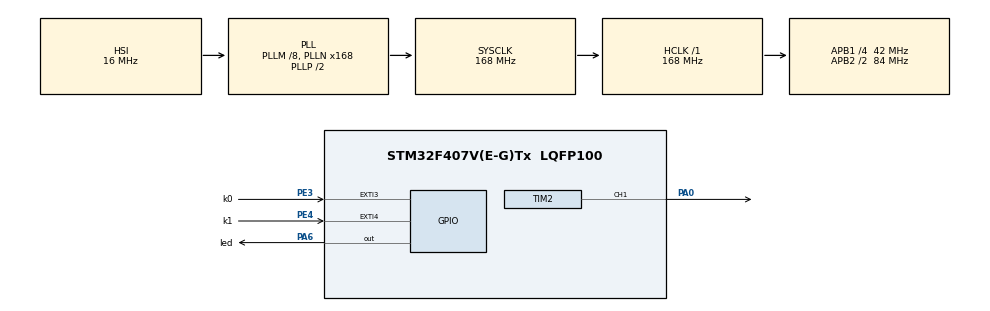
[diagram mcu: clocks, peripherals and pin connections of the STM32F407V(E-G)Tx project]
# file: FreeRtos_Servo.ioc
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FREERTOS.Tasks01=mainTask,0,128,StartMain,Default,NULL,Dynamic,NULL,NULL;liftPOD,-2,128,StartLiftPOD,Default,NULL,Dynamic,NULL,NULL
Mcu.Family=STM32F4
Mcu.Name=STM32F407V(E-G)Tx
Mcu.Package=LQFP100
NVIC.EXTI3_IRQn=true\:5\:0\:true\:false\:true\:false\:true\:true
NVIC.EXTI4_IRQn=true\:5\:0\:true\:false\:true\:false\:true\:true
NVIC.PriorityGroup=NVIC_PRIORITYGROUP_4
NVIC.TIM7_IRQn=true\:0\:0\:false\:false\:true\:false\:false\:true
NVIC.TimeBase=TIM7_IRQn
NVIC.TimeBaseIP=TIM7
PA0-WKUP.GPIO_PuPd=GPIO_PULLDOWN
PA0-WKUP.GPIO_Speed=GPIO_SPEED_FREQ_MEDIUM
PA0-WKUP.Signal=S_TIM2_CH1_ETR
PA13.Mode=Serial_Wire
PA13.Signal=SYS_JTMS-SWDIO
PA14.Mode=Serial_Wire
PA14.Signal=SYS_JTCK-SWCLK
PA6.GPIO_Label=led
PA6.GPIO_PuPd=GPIO_PULLDOWN
PA6.GPIO_Speed=GPIO_SPEED_FREQ_LOW
PA6.Signal=GPIO_Output
PE3.GPIO_Label=k0
PE3.GPIO_PuPd=GPIO_PULLUP
PE3.Signal=GPXTI3
PE4.GPIO_Label=k1
PE4.GPIO_PuPd=GPIO_PULLUP
PE4.Signal=GPXTI4
PH0-OSC_IN.Mode=HSE-External-Oscillator
PH0-OSC_IN.Signal=RCC_OSC_IN
PH1-OSC_OUT.Mode=HSE-External-Oscillator
PH1-OSC_OUT.Signal=RCC_OSC_OUT
ProjectManager.HeapSize=0x200
ProjectManager.StackSize=0x400
ProjectManager.TargetToolchain=STM32CubeIDE
RCC.48MHZClocksFreq_Value=84000000
RCC.AHBFreq_Value=168000000
RCC.APB1CLKDivider=RCC_HCLK_DIV4
RCC.APB1Freq_Value=42000000
RCC.APB1TimFreq_Value=84000000
RCC.APB2CLKDivider=RCC_HCLK_DIV2
RCC.APB2Freq_Value=84000000
RCC.APB2TimFreq_Value=168000000
RCC.CortexFreq_Value=168000000
RCC.HCLKFreq_Value=168000000
RCC.HSE_VALUE=8000000
RCC.HSI_VALUE=16000000
RCC.PLLM=8
RCC.PLLN=168
RCC.SYSCLKFreq_VALUE=168000000
RCC.SYSCLKSource=RCC_SYSCLKSOURCE_PLLCLK
RCC.VCOOutputFreq_Value=336000000
SH.S_TIM2_CH1_ETR.0=TIM2_CH1,PWM Generation1 CH1
TIM2.Channel-PWM\ Generation1\ CH1=TIM_CHANNEL_1
TIM2.OCFastMode_PWM-PWM\ Generation1\ CH1=TIM_OCFAST_DISABLE
TIM2.Period=20000 - 1
TIM2.Prescaler=84 - 1
VP_FREERTOS_VS_CMSIS_V1.Mode=CMSIS_V1
VP_SYS_VS_tim7.Mode=TIM7
VP_TIM2_VS_ClockSourceINT.Mode=Internal
board=custom

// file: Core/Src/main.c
/* USER CODE BEGIN Header */
/**
  ******************************************************************************
  * @file           : main.c
  * @brief          : Main program body
  ******************************************************************************
  * @attention
  *
  * <h2><center>&copy; Copyright (c) 2020 STMicroelectronics.
  * All rights reserved.</center></h2>
  *
  * This software component is licensed by ST under BSD 3-Clause license,
  * the "License"; You may not use this file except in compliance with the
  * License. You may obtain a copy of the License at:
  *                        opensource.org/licenses/BSD-3-Clause
  *
  ******************************************************************************
  */
/* USER CODE END Header */

#include "main.h"
#include "cmsis_os.h"

/* USER CODE BEGIN Includes */
#include "stdbool.h"
#include <stdio.h>
/* USER CODE END Includes */

TIM_HandleTypeDef htim2;

osThreadId mainTaskHandle;
osThreadId liftPODHandle;
/* USER CODE BEGIN PV */
volatile uint32_t angle = 0;
volatile float base = (float)1 / 20;
/* USER CODE END PV */

void SystemClock_Config(void);
static void MX_GPIO_Init(void);
static void MX_TIM2_Init(void);
void StartMain(void const * argument);
void StartLiftPOD(void const * argument);

/* USER CODE BEGIN 0 */
void liftPod(uint32_t angle) {
	HAL_TIM_Base_Start(&htim2);
	HAL_TIM_PWM_Start(&htim2, TIM_CHANNEL_1);
	volatile float additionAngle = ((float)1 / 180) * angle;
	volatile uint32_t setTim = 20000 * (base + additionAngle);
	__HAL_TIM_SET_COMPARE(&htim2, TIM_CHANNEL_1, setTim);
}

void HAL_GPIO_EXTI_Callback(uint16_t GPIO_Pin)
{
	if (GPIO_Pin == k0_Pin){
		if(angle >= 20000) {
			angle = 20000;
			return;
		} else angle += 500;
	}
	else if(GPIO_Pin == k1_Pin){
		if(angle <= 0) {
			angle = 0;
			return;
		} else angle -= 500;
	}
}
/* USER CODE END 0 */

int main(void)
{

  /* MCU Configuration--------------------------------------------------------*/

  /* Reset of all peripherals, Initializes the Flash interface and the Systick. */
  HAL_Init();

  /* Configure the system clock */
  SystemClock_Config();

  /* Initialize all configured peripherals */
  MX_GPIO_Init();
  MX_TIM2_Init();

  /* Create the thread(s) */
  /* definition and creation of mainTask */
  osThreadDef(mainTask, StartMain, osPriorityNormal, 0, 128);
  mainTaskHandle = osThreadCreate(osThread(mainTask), NULL);

  /* definition and creation of liftPOD */
  osThreadDef(liftPOD, StartLiftPOD, osPriorityLow, 0, 128);
  liftPODHandle = osThreadCreate(osThread(liftPOD), NULL);

  /* Start scheduler */
  osKernelStart();

  /* We should never get here as control is now taken by the scheduler */
  /* Infinite loop */
  while (1)
  {

  }
}

void SystemClock_Config(void)
{
  RCC_OscInitTypeDef RCC_OscInitStruct = {0};
  RCC_ClkInitTypeDef RCC_ClkInitStruct = {0};

  /** Configure the main internal regulator output voltage
  */
  __HAL_RCC_PWR_CLK_ENABLE();
  __HAL_PWR_VOLTAGESCALING_CONFIG(PWR_REGULATOR_VOLTAGE_SCALE1);
  /** Initializes the CPU, AHB and APB busses clocks
  */
  RCC_OscInitStruct.OscillatorType = RCC_OSCILLATORTYPE_HSI;
  RCC_OscInitStruct.HSIState = RCC_HSI_ON;
  RCC_OscInitStruct.HSICalibrationValue = RCC_HSICALIBRATION_DEFAULT;
  RCC_OscInitStruct.PLL.PLLState = RCC_PLL_ON;
  RCC_OscInitStruct.PLL.PLLSource = RCC_PLLSOURCE_HSI;
  RCC_OscInitStruct.PLL.PLLM = 8;
  RCC_OscInitStruct.PLL.PLLN = 168;
  RCC_OscInitStruct.PLL.PLLP = RCC_PLLP_DIV2;
  RCC_OscInitStruct.PLL.PLLQ = 4;
  if (HAL_RCC_OscConfig(&RCC_OscInitStruct) != HAL_OK)
  {
    Error_Handler();
  }
  /** Initializes the CPU, AHB and APB busses clocks
  */
  RCC_ClkInitStruct.ClockType = RCC_CLOCKTYPE_HCLK|RCC_CLOCKTYPE_SYSCLK
                              |RCC_CLOCKTYPE_PCLK1|RCC_CLOCKTYPE_PCLK2;
  RCC_ClkInitStruct.SYSCLKSource = RCC_SYSCLKSOURCE_PLLCLK;
  RCC_ClkInitStruct.AHBCLKDivider = RCC_SYSCLK_DIV1;
  RCC_ClkInitStruct.APB1CLKDivider = RCC_HCLK_DIV4;
  RCC_ClkInitStruct.APB2CLKDivider = RCC_HCLK_DIV2;

  if (HAL_RCC_ClockConfig(&RCC_ClkInitStruct, FLASH_LATENCY_5) != HAL_OK)
  {
    Error_Handler();
  }
}

static void MX_TIM2_Init(void)
{

  TIM_ClockConfigTypeDef sClockSourceConfig = {0};
  TIM_MasterConfigTypeDef sMasterConfig = {0};
  TIM_OC_InitTypeDef sConfigOC = {0};

  htim2.Instance = TIM2;
  htim2.Init.Prescaler = 84 - 1;
  htim2.Init.CounterMode = TIM_COUNTERMODE_UP;
  htim2.Init.Period = 20000 - 1;
  htim2.Init.ClockDivision = TIM_CLOCKDIVISION_DIV1;
  htim2.Init.AutoReloadPreload = TIM_AUTORELOAD_PRELOAD_DISABLE;
  if (HAL_TIM_Base_Init(&htim2) != HAL_OK)
  {
    Error_Handler();
  }
  sClockSourceConfig.ClockSource = TIM_CLOCKSOURCE_INTERNAL;
  if (HAL_TIM_ConfigClockSource(&htim2, &sClockSourceConfig) != HAL_OK)
  {
    Error_Handler();
  }
  if (HAL_TIM_PWM_Init(&htim2) != HAL_OK)
  {
    Error_Handler();
  }
  sMasterConfig.MasterOutputTrigger = TIM_TRGO_RESET;
  sMasterConfig.MasterSlaveMode = TIM_MASTERSLAVEMODE_DISABLE;
  if (HAL_TIMEx_MasterConfigSynchronization(&htim2, &sMasterConfig) != HAL_OK)
  {
    Error_Handler();
  }
  sConfigOC.OCMode = TIM_OCMODE_PWM1;
  sConfigOC.Pulse = 0;
  sConfigOC.OCPolarity = TIM_OCPOLARITY_HIGH;
  sConfigOC.OCFastMode = TIM_OCFAST_DISABLE;
  if (HAL_TIM_PWM_ConfigChannel(&htim2, &sConfigOC, TIM_CHANNEL_1) != HAL_OK)
  {
    Error_Handler();
  }
  HAL_TIM_MspPostInit(&htim2);

}

static void MX_GPIO_Init(void)
{
  GPIO_InitTypeDef GPIO_InitStruct = {0};

  /* GPIO Ports Clock Enable */
  __HAL_RCC_GPIOE_CLK_ENABLE();
  __HAL_RCC_GPIOH_CLK_ENABLE();
  __HAL_RCC_GPIOA_CLK_ENABLE();

  /*Configure GPIO pin Output Level */
  HAL_GPIO_WritePin(led_GPIO_Port, led_Pin, GPIO_PIN_RESET);

  /*Configure GPIO pins : k0_Pin k1_Pin */
  GPIO_InitStruct.Pin = k0_Pin|k1_Pin;
  GPIO_InitStruct.Mode = GPIO_MODE_IT_RISING;
  GPIO_InitStruct.Pull = GPIO_PULLUP;
  HAL_GPIO_Init(GPIOE, &GPIO_InitStruct);

  /*Configure GPIO pin : led_Pin */
  GPIO_InitStruct.Pin = led_Pin;
  GPIO_InitStruct.Mode = GPIO_MODE_OUTPUT_PP;
  GPIO_InitStruct.Pull = GPIO_PULLDOWN;
  GPIO_InitStruct.Speed = GPIO_SPEED_FREQ_HIGH;
  HAL_GPIO_Init(led_GPIO_Port, &GPIO_InitStruct);

  /* EXTI interrupt init*/
  HAL_NVIC_SetPriority(EXTI3_IRQn, 5, 0);
  HAL_NVIC_EnableIRQ(EXTI3_IRQn);

  HAL_NVIC_SetPriority(EXTI4_IRQn, 5, 0);
  HAL_NVIC_EnableIRQ(EXTI4_IRQn);

}

void StartMain(void const * argument)
{
  /* USER CODE BEGIN 5 */
  /* Infinite loop */
  for(;;)
  {
//	  HAL_GPIO_TogglePin(led_GPIO_Port, led_Pin);
	  HAL_GPIO_WritePin(led_GPIO_Port, led_Pin, 1);
	  osDelay(100);
	  HAL_GPIO_WritePin(led_GPIO_Port, led_Pin, 0);
	  osDelay(109);
  }
  /* USER CODE END 5 */
}

void StartLiftPOD(void const * argument)
{
  /* USER CODE BEGIN StartLiftPOD */
  /* Infinite loop */
  for(;;)
  {
	liftPod(0);
	osDelay(1000);
	liftPod(90);
	osDelay(1000);
	liftPod(180);
	osDelay(1000);
	liftPod(150);
	osDelay(1000);
	liftPod(60);
  }
  /* USER CODE END StartLiftPOD */
}

 /**
  * @brief  Period elapsed callback in non blocking mode
  * @note   This function is called  when TIM7 interrupt took place, inside
  * HAL_TIM_IRQHandler(). It makes a direct call to HAL_IncTick() to increment
  * a global variable "uwTick" used as application time base.
  * @param  htim : TIM handle
  * @retval None
  */
void HAL_TIM_PeriodElapsedCallback(TIM_HandleTypeDef *htim)
{
  if (htim->Instance == TIM7) {
    HAL_IncTick();
  }
}

void Error_Handler(void)
{
}

/************************ (C) COPYRIGHT STMicroelectronics *****END OF FILE****/
